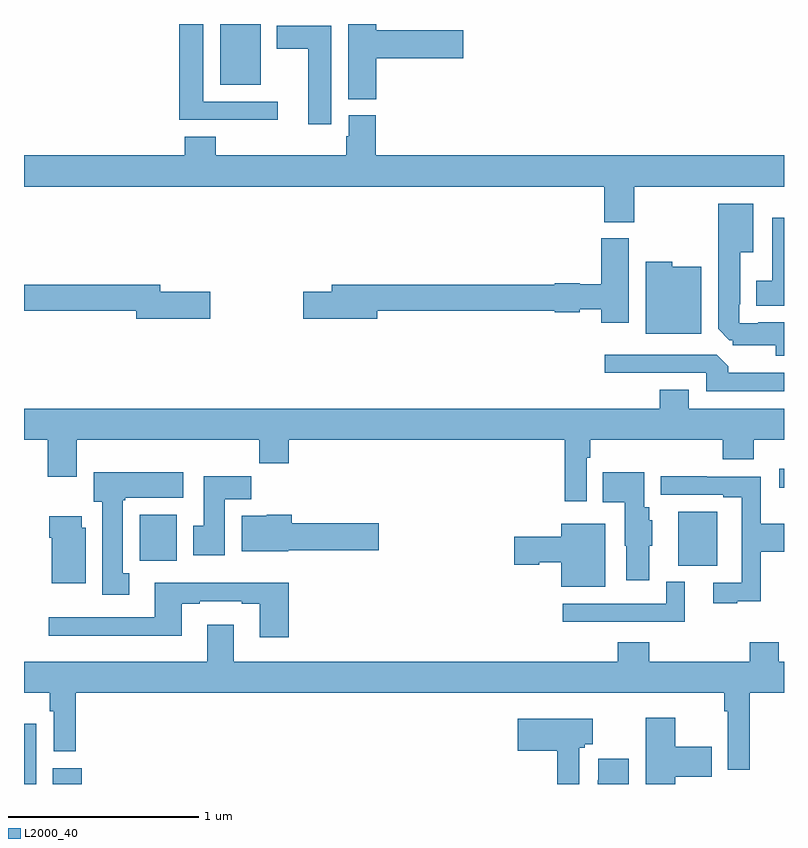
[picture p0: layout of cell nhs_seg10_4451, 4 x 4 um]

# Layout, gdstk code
import gdstk
lib = gdstk.Library(unit=1e-6, precision=1e-09)
def R(c, l, rs):  # rectangles x0, y0, x1, y1
    for r in rs: c.add(gdstk.rectangle(r[:2], r[2:], *l))
def P(c, l, *ps):  # polygons
    for p in ps: c.add(gdstk.Polygon(p, *l))
L2000_40 = (2000, 40)

nhs_seg10_4451 = lib.new_cell('nhs_seg10_4451')
R(nhs_seg10_4451, L2000_40, [(363,1302.5,363.064,1302.817), (363.152,1302.5,363.305,1302.583), (366.443,1303.649,366.649,1303.933), (363.608,1303.676,363.805,1303.918), (366.975,1304.06,367,1304.158), (364.034,1306.181,364.246,1306.5)])
P(nhs_seg10_4451, L2000_40, [(364.853,1306.319),(365.311,1306.319),(365.311,1306.466),(364.853,1306.466),(364.853,1306.5),(364.706,1306.5),(364.706,1306.105),(364.853,1306.105)],
  [(364.336,1306.092),(363.943,1306.092),(363.943,1306.5),(363.818,1306.5),(363.818,1305.995),(364.336,1305.995)],
  [(364.618,1306.492),(364.331,1306.492),(364.331,1306.37),(364.496,1306.37),(364.496,1305.972),(364.618,1305.972)],
  [(366.213,1305.644),(367,1305.644),(367,1305.808),(364.85,1305.808),(364.85,1306.02),(364.709,1306.02),(364.709,1305.909),(364.697,1305.909),(364.697,1305.808),(364.01,1305.808),(364.01,1305.907),(363.845,1305.907),(363.845,1305.808),(363,1305.808),(363,1305.644),(366.053,1305.644),(366.053,1305.457),(366.213,1305.457)],
  [(367,1304.929),(366.865,1304.929),(366.865,1304.925),(366.765,1304.925),(366.765,1305.025),(366.769,1305.025),(366.769,1305.299),(366.838,1305.299),(366.838,1305.553),(366.653,1305.553),(366.653,1304.895),(366.713,1304.835),(366.729,1304.835),(366.729,1304.808),(366.956,1304.808),(366.956,1304.753),(367,1304.753)],
  [(367,1305.481),(366.938,1305.481),(366.938,1305.148),(366.854,1305.148),(366.854,1305.017),(367,1305.017)],
  [(366.184,1305.372),(366.038,1305.372),(366.038,1305.129),(365.924,1305.129),(365.924,1305.136),(365.793,1305.136),(365.793,1305.128),(364.619,1305.128),(364.619,1305.092),(364.47,1305.092),(364.47,1304.95),(364.858,1304.95),(364.858,1304.992),(365.793,1304.992),(365.793,1304.984),(365.924,1304.984),(365.924,1304.999),(366.038,1304.999),(366.038,1304.928),(366.184,1304.928)],
  [(366.565,1305.223),(366.411,1305.223),(366.411,1305.25),(366.272,1305.25),(366.272,1304.87),(366.565,1304.87)],
  [(363.979,1305.092),(363.718,1305.092),(363.718,1305.128),(363,1305.128),(363,1304.992),(363.59,1304.992),(363.59,1304.95),(363.979,1304.95)],
  [(367,1304.664),(366.707,1304.664),(366.707,1304.698),(366.645,1304.76),(366.057,1304.76),(366.057,1304.664),(366.591,1304.664),(366.591,1304.568),(367,1304.568)],
  [(365.961,1304.216),(365.981,1304.216),(365.981,1304.312),(366.677,1304.312),(366.677,1304.21),(366.842,1304.21),(366.842,1304.312),(367,1304.312),(367,1304.476),(366.499,1304.476),(366.499,1304.575),(366.347,1304.575),(366.347,1304.476),(363,1304.476),(363,1304.312),(363.125,1304.312),(363.125,1304.118),(363.277,1304.118),(363.277,1304.312),(364.237,1304.312),(364.237,1304.188),(364.394,1304.188),(364.394,1304.312),(365.845,1304.312),(365.845,1303.989),(365.961,1303.989)],
  [(366.292,1303.755),(366.307,1303.755),(366.307,1303.887),(366.292,1303.887),(366.292,1303.956),(366.265,1303.956),(366.265,1304.14),(366.046,1304.14),(366.046,1303.982),(366.161,1303.982),(366.161,1303.755),(366.17,1303.755),(366.17,1303.572),(366.292,1303.572)],
  [(363.553,1303.61),(363.52,1303.61),(363.52,1303.993),(363.534,1303.993),(363.534,1304.006),(363.838,1304.006),(363.838,1304.14),(363.368,1304.14),(363.368,1303.986),(363.413,1303.986),(363.413,1303.497),(363.553,1303.497)],
  [(366.755,1303.463),(366.878,1303.463),(366.878,1303.723),(367,1303.723),(367,1303.87),(366.878,1303.87),(366.878,1304.118),(366.593,1304.118),(366.593,1304.12),(366.351,1304.12),(366.351,1304.022),(366.68,1304.022),(366.68,1304.01),(366.777,1304.01),(366.777,1303.56),(366.627,1303.56),(366.627,1303.452),(366.755,1303.452)],
  [(364.057,1304),(364.196,1304),(364.196,1304.119),(363.947,1304.119),(363.947,1303.86),(363.89,1303.86),(363.89,1303.704),(364.057,1303.704)],
  [(364.392,1303.73),(364.867,1303.73),(364.867,1303.872),(364.409,1303.872),(364.409,1303.918),(364.278,1303.918),(364.278,1303.912),(364.145,1303.912),(364.145,1303.724),(364.392,1303.724)],
  [(363.325,1303.848),(363.304,1303.848),(363.304,1303.909),(363.134,1303.909),(363.134,1303.796),(363.146,1303.796),(363.146,1303.556),(363.325,1303.556)],
  [(366.058,1303.87),(365.828,1303.87),(365.828,1303.802),(365.58,1303.802),(365.58,1303.655),(365.712,1303.655),(365.712,1303.667),(365.828,1303.667),(365.828,1303.538),(366.058,1303.538)],
  [(366.478,1303.564),(366.381,1303.564),(366.381,1303.449),(365.835,1303.449),(365.835,1303.353),(366.478,1303.353)],
  [(364.394,1303.558),(363.689,1303.558),(363.689,1303.377),(363.129,1303.377),(363.129,1303.28),(363.829,1303.28),(363.829,1303.449),(363.925,1303.449),(363.925,1303.461),(364.145,1303.461),(364.145,1303.449),(364.241,1303.449),(364.241,1303.272),(364.394,1303.272)],
  [(366.821,1302.98),(367,1302.98),(367,1303.144),(366.973,1303.144),(366.973,1303.246),(366.821,1303.246),(366.821,1303.144),(366.29,1303.144),(366.29,1303.246),(366.125,1303.246),(366.125,1303.144),(364.105,1303.144),(364.105,1303.339),(363.965,1303.339),(363.965,1303.144),(363,1303.144),(363,1302.98),(363.136,1302.98),(363.136,1302.884),(363.156,1302.884),(363.156,1302.672),(363.272,1302.672),(363.272,1302.98),(366.685,1302.98),(366.685,1302.884),(366.705,1302.884),(366.705,1302.576),(366.821,1302.576)],
  [(366.427,1302.539),(366.62,1302.539),(366.62,1302.697),(366.427,1302.697),(366.427,1302.85),(366.272,1302.85),(366.272,1302.5),(366.427,1302.5)],
  [(365.922,1302.69),(365.95,1302.69),(365.95,1302.709),(365.993,1302.709),(365.993,1302.844),(365.598,1302.844),(365.598,1302.674),(365.806,1302.674),(365.806,1302.5),(365.922,1302.5)],
  [(366.184,1302.634),(366.022,1302.634),(366.022,1302.521),(366.02,1302.521),(366.02,1302.5),(366.184,1302.5)])

lib.write_gds('nhs_seg10_4451.gds')
